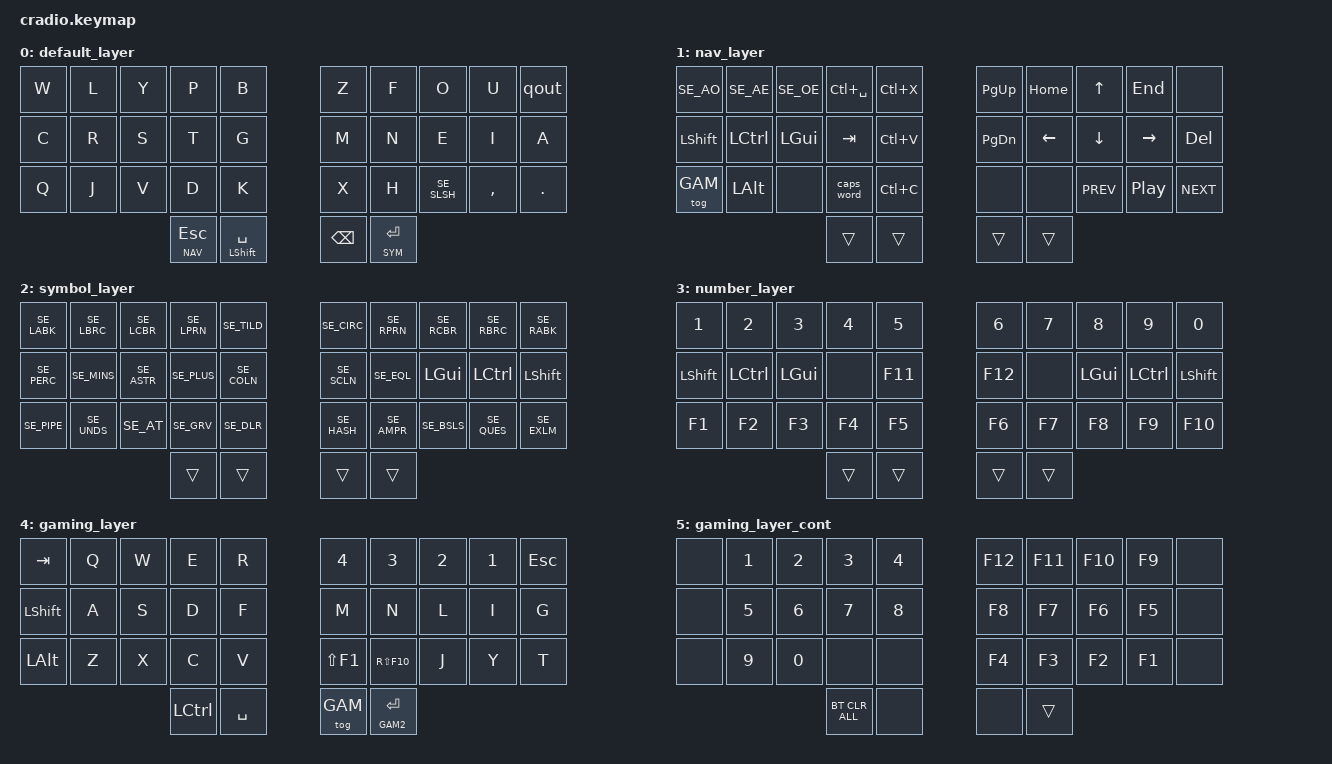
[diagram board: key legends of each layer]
// Copyright (c) 2022 The ZMK Contributors
// SPDX-License-Identifier: MIT

#include <behaviors.dtsi>
#include <dt-bindings/zmk/keys.h>
#include <dt-bindings/zmk/bt.h>

#include "swedish.h"

#define NAV 1
#define SYM 2
#define NUM 3
#define GAM 4
#define GAM2 5

&caps_word {
    continue-list = <SE_UNDS BACKSPACE DELETE SE_AO SE_AE SE_OE>;
};

/ {
    behaviors {
        ht: hold_tap {
            label = "hold_tap";
            compatible = "zmk,behavior-hold-tap";
            #binding-cells = <2>;
            flavor = "tap-preferred";
            tapping-term-ms = <200>;
            bindings = <&kp>, <&kp>;
        };
        htl: hold_tap_layer {
            label = "hold_tap_layer";
            compatible = "zmk,behavior-hold-tap";
            #binding-cells = <2>;
            flavor = "hold-preferred";
            tapping-term-ms = <300>;
            // quick-tap-ms = -1;
            global-quick-tap;
            bindings = <&mo>, <&kp>;
        };
        httl: hold_tap_preferred_layer {
            label = "hold_tap_preferred_layer";
            compatible = "zmk,behavior-hold-tap";
            flavor = "hold-preferred";
            #binding-cells = <2>;
            tapping-term-ms = <0>;
            retro-tap;
            bindings = <&mo>, <&kp>;
        };
        qout: progq {
            compatible = "zmk,behavior-mod-morph";
            label = "Quot key";
            #binding-cells = <0>;
            bindings = <&kp SE_QUOT>, <&kp SE_DQUO>;
            mods = <(MOD_LSFT)>;
        };
    };

    conditional_layers {
        compatible = "zmk,conditional-layers";
        tri_layer {
            if-layers = <NAV SYM>;
            then-layer = <NUM>;
        };
    };

    keymap {
        compatible = "zmk,keymap";
        default_layer {
            bindings = <
        //╭──────────┬──────────┬──────────┬──────────┬──────────╮   ╭──────────┬──────────┬──────────┬──────────┬──────────╮
        //│  W       │  L       │  Y       │  P       │  B       │   │  Z       │  F       │  O       │  U       │ '        │
             &kp W      &kp L      &kp Y     &kp P       &kp B          &kp Z      &kp F      &kp O      &kp U    &qout
        //├──────────┼──────────┼──────────┼──────────┼──────────┤   ├──────────┼──────────┼──────────┼──────────┼──────────┤
        //│  C       │  R       │  S       │  T       │  G       │   │  M       │  N       │  E       │  I       │ A        │
             &kp C      &kp R      &kp S      &kp T      &kp G          &kp M      &kp N      &kp E      &kp I     &kp A
        //├──────────┼──────────┼──────────┼──────────┼──────────┤   ├──────────┼──────────┼──────────┼──────────┼──────────┤
        //│  Q       │  J       │  V       │  D       │  K       │   │  X       │  H       │ /        │ ,        │ .        │
             &kp Q      &kp J      &kp V      &kp D      &kp K          &kp X      &kp H     &kp SE_SLSH &kp COMMA &kp DOT
        //╰──────────┴──────────┴──────────┼──────────┼──────────┤   ├──────────┼──────────┼──────────┴──────────┴──────────╯
                                             &htl NAV ESC &ht LSHIFT SPACE    &kp BSPC   &htl SYM ENTER
        //                                 ╰──────────┴──────────╯   ╰──────────┴──────────╯
            >;
        };

        nav_layer {
            bindings = <
        //╭──────────┬──────────┬──────────┬──────────┬──────────╮   ╭──────────┬──────────┬──────────┬──────────┬──────────╮
        //│ Å        │ Ä        │ Ö        │ FlyP     │ CUT      │   │ PG UP    │ HOME     │ UP       │ END      │          │
            &kp SE_AO  &kp SE_AE  &kp SE_OE  &kp LC(SPACE) &kp LC(X)   &kp PG_UP  &kp HOME   &kp UP     &kp END    &none
        //├──────────┼──────────┼──────────┼──────────┼──────────┤   ├──────────┼──────────┼──────────┼──────────┼──────────┤
        //│ SHIFT    │ CTRL     │ META     │ TAB      │ PASTE    │   │ PG DWN   │ LEFT     │ DOWN     │ RIGHT    │ DEL      │
            &kp LSHIFT &kp LCTRL  &kp LGUI   &kp TAB    &kp LC(V)      &kp PG_DN  &kp LEFT   &kp DOWN   &kp RIGHT  &kp DEL
        //├──────────┼──────────┼──────────┼──────────┼──────────┤   ├──────────┼──────────┼──────────┼──────────┼──────────┤
        //│ Game     │          │          │          │ Copy     │   │          │          │ Prev     │ Play     │ Next     │
            &tog GAM   &kp LALT   &none      &caps_word &kp LC(C)     &none      &none       &kp C_PREV &kp C_PP   &kp C_NEXT
        //╰──────────┴──────────┴──────────┼──────────┼──────────┤   ├──────────┼──────────┼──────────┴──────────┴──────────╯
                                             &trans     &trans         &trans     &trans
        //                                 ╰──────────┴──────────╯   ╰──────────┴──────────╯
            >;
        };

        symbol_layer {
            bindings = <
        //╭──────────┬──────────┬──────────┬──────────┬──────────╮   ╭──────────┬──────────┬──────────┬──────────┬──────────╮
        //│ <        │ [        │  {       │  (       │ ~        │   │  ^       │  )       │  }       │  ]       │  >       │
            &kp SE_LABK &kp SE_LBRC &kp SE_LCBR &kp SE_LPRN &kp SE_TILD &kp SE_CIRC &kp SE_RPRN &kp SE_RCBR &kp SE_RBRC &kp SE_RABK
        //├──────────┼──────────┼──────────┼──────────┼──── ─────┤   ├──────────┼──────────┼──────────┼──────────┼──────────┤
        //│ %        │  -       │  *       │  +       │ :        │   │  ;       │ =        │ META     │  CTRL    │  SHIFT   │
            &kp SE_PERC &kp SE_MINS &kp SE_ASTR &kp SE_PLUS &kp SE_COLN &kp SE_SCLN &kp SE_EQL &kp LGUI  &kp LCTRL  &kp LSHIFT
        //├──────────┼──────────┼──────────┼──────────┼──────────┤   ├──────────┼──────────┼──────────┼──────────┼──────────┤
        //│ |        │ _        │ @        │ `        │ $        │   │ #        │ &        │ \        │  ?       │ !        │
            &kp SE_PIPE &kp SE_UNDS &kp SE_AT &kp SE_GRV &kp SE_DLR    &kp SE_HASH &kp SE_AMPR &kp SE_BSLS &kp SE_QUES &kp SE_EXLM
        //╰──────────┴──────────┴──────────┼──────────┼──────────┤   ├──────────┼──────────┼──────────┴──────────┴──────────╯
                                             &trans     &trans         &trans     &trans
        //                                 ╰──────────┴──────────╯   ╰──────────┴──────────╯
            >;
        };

        number_layer {
            bindings = <
        //╭──────────┬──────────┬──────────┬──────────┬──────────╮   ╭──────────┬──────────┬──────────┬──────────┬──────────╮
        //│ 1        │ 2        │ 3        │ 4        │ 5        │   │ 6        │ 7        │ 8        │ 9        │ 0        │
            &kp N1     &kp N2     &kp N3     &kp N4     &kp N5         &kp N6     &kp N7     &kp N8     &kp N9     &kp N0
        //├──────────┼──────────┼──────────┼──────────┼──────────┤   ├──────────┼──────────┼──────────┼──────────┼──────────┤
        //│ SHIFT    │ CTRL     │ META     │          │ F11      │   │ F12      │          │ META     │ CTRL     │ SHIFT    │
            &kp LSHIFT &kp LCTRL  &kp LGUI   &none      &kp F11        &kp F12    &none      &kp LGUI   &kp LCTRL  &kp LSHIFT
        //├──────────┼──────────┼──────────┼──────────┼──────────┤   ├──────────┼──────────┼──────────┼──────────┼──────────┤
        //│ F1       │ F2       │ F3       │ F4       │ F5       │   │ F6       │ F7       │ F8       │ F9       │ F10      │
            &kp F1     &kp F2     &kp F3    &kp F4      &kp F5         &kp F6     &kp F7     &kp F8     &kp F9     &kp F10
        //╰──────────┴──────────┴──────────┼──────────┼──────────┤   ├──────────┼──────────┼──────────┴──────────┴──────────╯
                                             &trans     &trans         &trans     &trans
        //                                 ╰──────────┴──────────╯   ╰──────────┴──────────╯
            >;
        };

        gaming_layer {
            bindings = <
        //╭──────────┬──────────┬──────────┬──────────┬──────────╮   ╭──────────┬──────────┬──────────┬──────────┬──────────╮
        //│ TAB      │ Q        │ W        │ E        │ R        │   │ 4        │ 3        │ 2        │ 1        │ ESC      │
            &kp TAB    &kp Q      &kp W      &kp E      &kp R          &kp N4     &kp N3     &kp N2     &kp N1     &kp ESC
        //├──────────┼──────────┼──────────┼──────────┼──────────┤   ├──────────┼──────────┼──────────┼──────────┼──────────┤
        //│ SHIFT    │ A        │ S        │ D        │ F        │   │ M        │ N        │ L        │ I        │ G        │
            &kp LSHIFT &kp A      &kp S      &kp D      &kp F          &kp M      &kp N      &kp L     &kp I       &kp G
        //├──────────┼──────────┼──────────┼──────────┼──────────┤   ├──────────┼──────────┼──────────┼──────────┼──────────┤
        //│ LALT      │ Z        │ X        │ C        │ V       │   │ FPS LIM  │ HUD PRE  │ J        │ Y        │ T        │
            &kp LALT    &kp Z      &kp X      &kp C      &kp V         &kp LS(F1) &kp RS(F10) &kp J      &kp Y      &kp T
        //╰──────────┴──────────┴──────────┼──────────┼──────────┤   ├──────────┼──────────┼──────────┴──────────┴──────────╯
                                             &kp LCTRL  &kp SPACE      &tog GAM   &httl GAM2 ENTER
        //                                 ╰──────────┴──────────╯   ╰──────────┴──────────╯
            >;
        };

        gaming_layer_cont {
            bindings = <
        //╭──────────┬──────────┬──────────┬──────────┬──────────╮   ╭──────────┬──────────┬──────────┬──────────┬──────────╮
        //│          │ 1        │ 2        │ 3        │ 4        │   │          │          │          │          │          │
            &none      &kp N1     &kp N2     &kp N3     &kp N4         &kp F12      &kp F11      &kp F10    &kp F9      &none
        //├──────────┼──────────┼──────────┼──────────┼──────────┤   ├──────────┼──────────┼──────────┼──────────┼──────────┤
        //│          │          │          │          │          │   │          │          │          │          │          │
            &none      &kp N5     &kp N6    &kp N7      &kp N8         &kp F8     &kp F7     &kp F6     &kp F5      &none
        //├──────────┼──────────┼──────────┼──────────┼──────────┤   ├──────────┼──────────┼──────────┼──────────┼──────────┤
        //│          │          │          │          │          │   │          │          │          │          │          │
            &none      &kp N9     &kp N0     &none      &none          &kp F4     &kp F3     &kp F2     &kp F1     &none
        //╰──────────┴──────────┴──────────┼──────────┼──────────┤   ├──────────┼──────────┼──────────┴──────────┴──────────╯
                                             &bt BT_CLR_ALL &none      &none      &trans
        //                                 ╰──────────┴──────────╯   ╰──────────┴──────────╯
            >;
        };
     };
};
